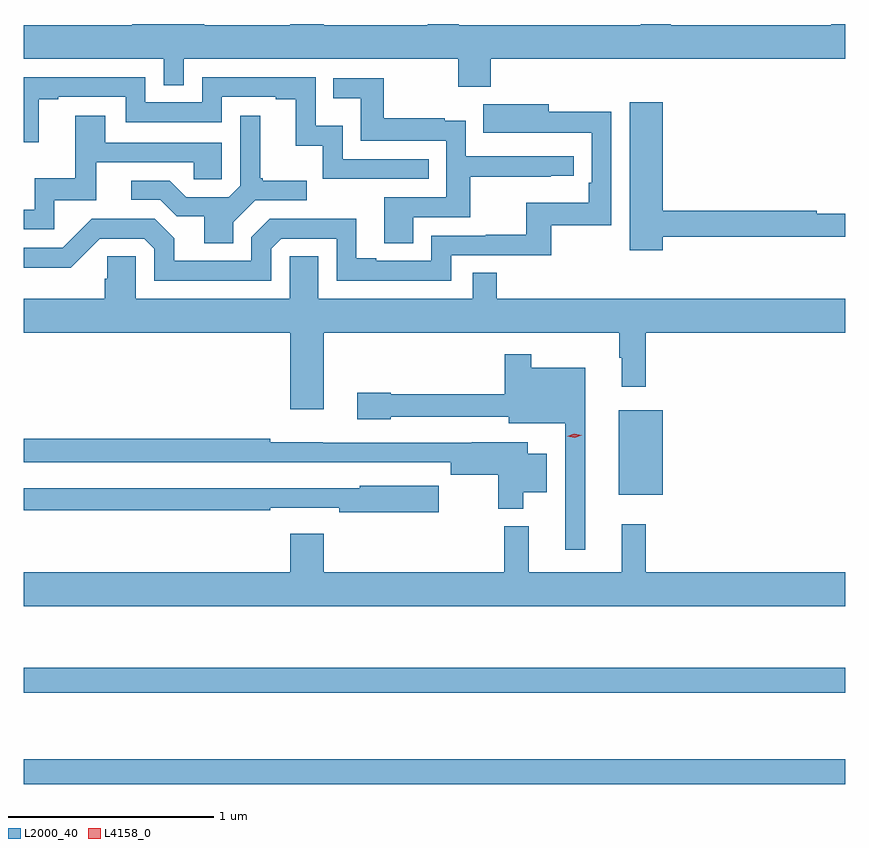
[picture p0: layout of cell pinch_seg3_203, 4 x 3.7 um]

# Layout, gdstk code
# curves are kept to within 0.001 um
import gdstk
lib = gdstk.Library(unit=1e-6, precision=1e-09)
def R(c, l, rs):  # rectangles x0, y0, x1, y1
    for r in rs: c.add(gdstk.rectangle(r[:2], r[2:], *l))
def P(c, l, *ps):  # polygons
    for p in ps: c.add(gdstk.Polygon(p, *l))
L2000_40 = (2000, 40)
L4158_0 = (4158, 0)

pinch_seg3_203 = lib.new_cell('pinch_seg3_203')
R(pinch_seg3_203, L2000_40, [(966.907,736.014,970.907,736.135), (966.907,736.458,970.907,736.579), (969.803,737.423,970.018,737.833)])
P(pinch_seg3_203, L2000_40, [(969.182,739.544),(970.907,739.544),(970.907,739.714),(970.838,739.714),(970.838,739.708),(970.057,739.708),(970.057,739.714),(969.91,739.714),(969.91,739.708),(969.025,739.708),(969.025,739.714),(968.873,739.714),(968.873,739.708),(968.368,739.708),(968.368,739.714),(968.204,739.714),(968.204,739.708),(967.786,739.708),(967.786,739.714),(967.436,739.714),(967.436,739.708),(966.907,739.708),(966.907,739.544),(967.59,739.544),(967.59,739.417),(967.686,739.417),(967.686,739.544),(969.022,739.544),(969.022,739.409),(969.182,739.409)],
  [(968.879,739.056),(968.46,739.056),(968.46,739.219),(968.328,739.219),(968.328,739.455),(967.776,739.455),(967.776,739.332),(967.5,739.332),(967.5,739.455),(966.907,739.455),(966.907,739.139),(966.98,739.139),(966.98,739.347),(967.075,739.347),(967.075,739.359),(967.404,739.359),(967.404,739.236),(967.872,739.236),(967.872,739.359),(968.135,739.359),(968.135,739.347),(968.231,739.347),(968.231,739.121),(968.364,739.121),(968.364,738.96),(968.879,738.96)],
  [(968.803,738.774),(969.08,738.774),(969.08,738.97),(969.473,738.97),(969.473,738.975),(969.586,738.975),(969.586,739.071),(969.06,739.071),(969.06,739.243),(968.957,739.243),(968.957,739.255),(968.659,739.255),(968.659,739.449),(968.413,739.449),(968.413,739.352),(968.548,739.352),(968.548,739.146),(968.964,739.146),(968.964,738.87),(968.663,738.87),(968.663,738.646),(968.803,738.646)],
  [(970.018,738.678),(970.907,738.678),(970.907,738.791),(970.767,738.791),(970.767,738.806),(970.018,738.806),(970.018,739.333),(969.857,739.333),(969.857,738.612),(970.018,738.612)],
  [(968.112,738.621),(968.16,738.669),(968.43,738.669),(968.43,738.465),(968.988,738.465),(968.988,738.588),(969.475,738.588),(969.475,738.735),(969.768,738.735),(969.768,739.286),(969.463,739.286),(969.463,739.324),(969.145,739.324),(969.145,739.184),(969.672,739.185),(969.672,738.94),(969.659,738.94),(969.659,738.844),(969.354,738.844),(969.354,738.689),(969.157,738.689),(969.157,738.684),(968.892,738.684),(968.892,738.561),(968.623,738.561),(968.623,738.574),(968.527,738.574),(968.527,738.767),(968.322,738.767),(968.322,738.765),(968.106,738.765),(968.016,738.675),(968.016,738.561),(967.639,738.561),(967.639,738.671),(967.545,738.765),(967.239,738.765),(967.098,738.624),(966.907,738.624),(966.907,738.527),(967.136,738.527),(967.278,738.669),(967.494,738.669),(967.542,738.621),(967.542,738.465),(968.112,738.465)],
  [(967.056,738.855),(967.261,738.855),(967.261,739.041),(967.735,739.041),(967.735,738.957),(967.872,738.957),(967.872,739.137),(967.303,739.137),(967.303,739.267),(967.159,739.267),(967.159,738.964),(966.96,738.964),(966.96,738.81),(966.907,738.81),(966.907,738.714),(967.056,738.714)],
  [(967.927,738.748),(968.034,738.855),(968.284,738.855),(968.284,738.952),(968.071,738.952),(968.071,738.964),(968.059,738.964),(968.059,739.267),(967.962,739.267),(967.962,738.927),(967.905,738.87),(967.699,738.87),(967.618,738.951),(967.431,738.951),(967.431,738.858),(967.572,738.858),(967.652,738.778),(967.787,738.778),(967.787,738.646),(967.927,738.646)],
  [(968.368,738.212),(969.807,738.212),(969.807,738.089),(969.818,738.089),(969.818,737.949),(969.935,737.949),(969.935,738.212),(970.907,738.212),(970.907,738.376),(969.209,738.376),(969.209,738.503),(969.093,738.503),(969.093,738.376),(968.341,738.376),(968.341,738.584),(968.202,738.584),(968.202,738.376),(967.452,738.376),(967.452,738.584),(967.315,738.584),(967.315,738.474),(967.301,738.474),(967.301,738.376),(966.907,738.376),(966.907,738.212),(968.204,738.212),(968.204,737.838),(968.368,737.838)],
  [(969.64,738.04),(969.379,738.04),(969.379,738.106),(969.25,738.106),(969.25,737.911),(968.694,737.911),(968.694,737.919),(968.532,737.919),(968.532,737.789),(968.694,737.789),(968.694,737.802),(969.269,737.802),(969.269,737.771),(969.543,737.771),(969.543,737.154),(969.64,737.154)],
  [(969.34,737.435),(969.454,737.435),(969.454,737.623),(969.36,737.623),(969.36,737.677),(969.088,737.677),(969.088,737.676),(968.364,737.676),(968.364,737.677),(968.108,737.677),(968.108,737.696),(966.907,737.696),(966.907,737.58),(968.987,737.58),(968.987,737.52),(969.218,737.52),(969.218,737.354),(969.34,737.354)],
  [(968.927,737.465),(968.816,737.465),(968.816,737.467),(968.544,737.467),(968.544,737.454),(966.907,737.454),(966.907,737.346),(968.108,737.346),(968.108,737.358),(968.444,737.358),(968.444,737.338),(968.927,737.338)],
  [(970.907,737.044),(969.935,737.044),(969.935,737.278),(969.818,737.278),(969.818,737.044),(969.365,737.044),(969.365,737.269),(969.247,737.269),(969.247,737.044),(968.368,737.044),(968.368,737.233),(968.204,737.233),(968.204,737.044),(966.907,737.044),(966.907,736.88),(970.907,736.88)])
P(pinch_seg3_203, L4158_0, [(969.589,737.7),(969.553,737.707),(969.553,737.707),(969.553,737.708),(969.588,737.72),(969.624,737.712),(969.624,737.712),(969.624,737.712)])

lib.write_gds('pinch_seg3_203.gds')
